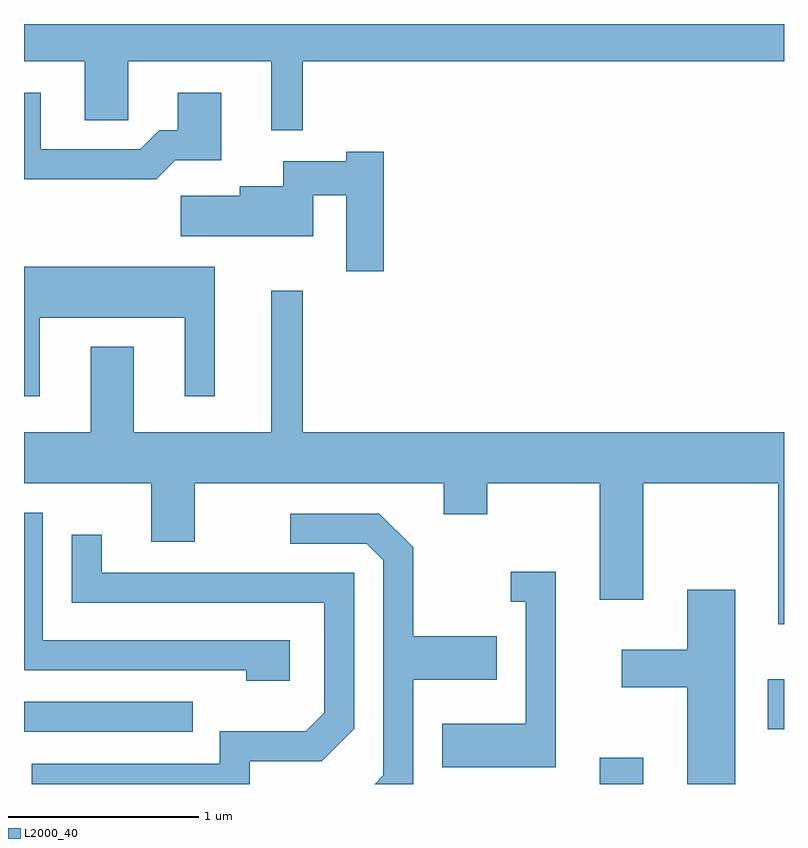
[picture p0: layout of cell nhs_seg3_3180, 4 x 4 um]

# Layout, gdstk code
import gdstk
lib = gdstk.Library(unit=1e-6, precision=1e-09)
def R(c, l, rs):  # rectangles x0, y0, x1, y1
    for r in rs: c.add(gdstk.rectangle(r[:2], r[2:], *l))
def P(c, l, *ps):  # polygons
    for p in ps: c.add(gdstk.Polygon(p, *l))
L2000_40 = (2000, 40)

nhs_seg3_3180 = lib.new_cell('nhs_seg3_3180')
R(nhs_seg3_3180, L2000_40, [(280.641,1219.892,280.869,1220.029), (277.611,1220.166,278.498,1220.324), (281.526,1220.181,281.611,1220.444)])
P(nhs_seg3_3180, L2000_40, [(279.079,1223.696),(281.611,1223.696),(281.611,1223.892),(277.611,1223.892),(277.611,1223.696),(277.931,1223.696),(277.931,1223.386),(278.159,1223.386),(278.159,1223.696),(278.911,1223.696),(278.911,1223.333),(279.079,1223.333)],
  [(278.407,1223.176),(278.649,1223.176),(278.649,1223.529),(278.421,1223.529),(278.421,1223.334),(278.324,1223.334),(278.224,1223.234),(277.699,1223.234),(277.699,1223.529),(277.611,1223.529),(277.611,1223.076),(278.307,1223.076)],
  [(279.504,1223.219),(279.306,1223.219),(279.306,1223.169),(278.976,1223.169),(278.976,1223.039),(278.746,1223.039),(278.746,1222.989),(278.436,1222.989),(278.436,1222.776),(279.134,1222.776),(279.134,1222.991),(279.306,1222.991),(279.306,1222.591),(279.504,1222.591)],
  [(277.694,1222.346),(278.456,1222.346),(278.456,1221.933),(278.614,1221.933),(278.614,1222.614),(277.611,1222.614),(277.611,1221.933),(277.694,1221.933)],
  [(281.611,1221.744),(279.079,1221.744),(279.079,1222.488),(278.911,1222.488),(278.911,1221.744),(278.189,1221.744),(278.189,1222.194),(277.961,1222.194),(277.961,1221.744),(277.611,1221.744),(277.611,1221.476),(278.281,1221.476),(278.281,1221.166),(278.509,1221.166),(278.509,1221.476),(279.821,1221.476),(279.821,1221.311),(280.049,1221.311),(280.049,1221.476),(280.641,1221.476),(280.641,1220.861),(280.869,1220.861),(280.869,1221.476),(281.581,1221.476),(281.581,1220.733),(281.611,1220.733)],
  [(279.009,1220.649),(277.709,1220.649),(277.709,1221.319),(277.611,1221.319),(277.611,1220.491),(278.781,1220.491),(278.781,1220.436),(279.009,1220.436)],
  [(279.659,1220.441),(280.099,1220.441),(280.099,1220.669),(279.659,1220.669),(279.659,1221.137),(279.482,1221.314),(279.013,1221.314),(279.013,1221.156),(279.414,1221.156),(279.501,1221.069),(279.501,1219.937),(279.456,1219.892),(279.659,1219.892)],
  [(278.799,1220.011),(279.177,1220.011),(279.349,1220.184),(279.349,1221.004),(278.019,1221.004),(278.019,1221.203),(277.861,1221.203),(277.861,1220.846),(279.191,1220.846),(279.191,1220.267),(279.094,1220.169),(278.641,1220.169),(278.641,1219.999),(277.651,1219.999),(277.651,1219.892),(278.799,1219.892)],
  [(280.409,1221.009),(280.173,1221.009),(280.173,1220.851),(280.251,1220.851),(280.251,1220.209),(279.811,1220.209),(279.811,1219.981),(280.409,1219.981)],
  [(281.354,1220.914),(281.101,1220.914),(281.101,1220.599),(280.756,1220.599),(280.756,1220.401),(281.101,1220.401),(281.101,1219.892),(281.354,1219.892)])

lib.write_gds('nhs_seg3_3180.gds')
